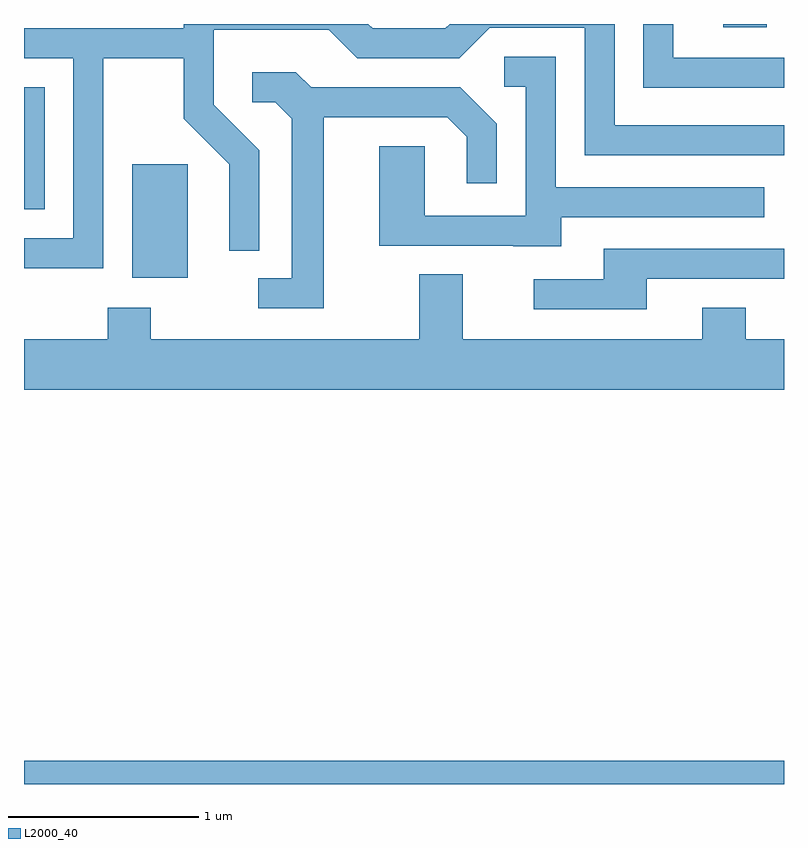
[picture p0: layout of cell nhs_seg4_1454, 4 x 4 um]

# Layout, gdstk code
import gdstk
lib = gdstk.Library(unit=1e-6, precision=1e-09)
def R(c, l, rs):  # rectangles x0, y0, x1, y1
    for r in rs: c.add(gdstk.rectangle(r[:2], r[2:], *l))
def P(c, l, *ps):  # polygons
    for p in ps: c.add(gdstk.Polygon(p, *l))
L2000_40 = (2000, 40)

nhs_seg4_1454 = lib.new_cell('nhs_seg4_1454')
R(nhs_seg4_1454, L2000_40, [(227.611,1305.982,231.611,1306.104), (228.181,1308.646,228.474,1309.244), (227.611,1309.006,227.719,1309.649), (231.291,1309.966,231.519,1309.982)])
P(nhs_seg4_1454, L2000_40, [(231.611,1309.804),(231.029,1309.804),(231.029,1309.982),(230.871,1309.982),(230.871,1309.646),(231.611,1309.646)],
  [(228.029,1309.801),(228.451,1309.801),(228.451,1309.484),(228.691,1309.244),(228.691,1308.788),(228.849,1308.788),(228.849,1309.317),(228.609,1309.557),(228.609,1309.951),(229.214,1309.951),(229.364,1309.801),(229.902,1309.801),(230.062,1309.961),(230.561,1309.961),(230.561,1309.291),(231.611,1309.291),(231.611,1309.449),(230.719,1309.449),(230.719,1309.982),(229.852,1309.982),(229.829,1309.959),(229.447,1309.959),(229.424,1309.982),(228.451,1309.982),(228.451,1309.959),(227.611,1309.959),(227.611,1309.801),(227.871,1309.801),(227.871,1308.854),(227.611,1308.854),(227.611,1308.696),(228.029,1308.696)],
  [(230.439,1308.966),(231.508,1308.966),(231.508,1309.124),(230.409,1309.124),(230.409,1309.809),(230.138,1309.809),(230.138,1309.651),(230.251,1309.651),(230.251,1308.974),(229.719,1308.974),(229.719,1309.339),(229.481,1309.339),(229.481,1308.816),(230.185,1308.816),(230.185,1308.811),(230.439,1308.811)],
  [(229.189,1309.491),(229.839,1309.491),(229.941,1309.389),(229.941,1309.143),(230.099,1309.143),(230.099,1309.457),(229.907,1309.649),(229.122,1309.649),(229.042,1309.729),(228.813,1309.729),(228.813,1309.571),(228.934,1309.571),(229.021,1309.484),(229.021,1308.644),(228.843,1308.644),(228.843,1308.486),(229.189,1308.486)],
  [(230.889,1308.641),(231.611,1308.641),(231.611,1308.799),(230.661,1308.799),(230.661,1308.639),(230.293,1308.639),(230.293,1308.481),(230.889,1308.481)],
  [(231.611,1308.324),(231.409,1308.324),(231.409,1308.489),(231.181,1308.489),(231.181,1308.324),(229.919,1308.324),(229.919,1308.664),(229.691,1308.664),(229.691,1308.324),(228.279,1308.324),(228.279,1308.489),(228.051,1308.489),(228.051,1308.324),(227.611,1308.324),(227.611,1308.056),(231.611,1308.056)])

lib.write_gds('nhs_seg4_1454.gds')
